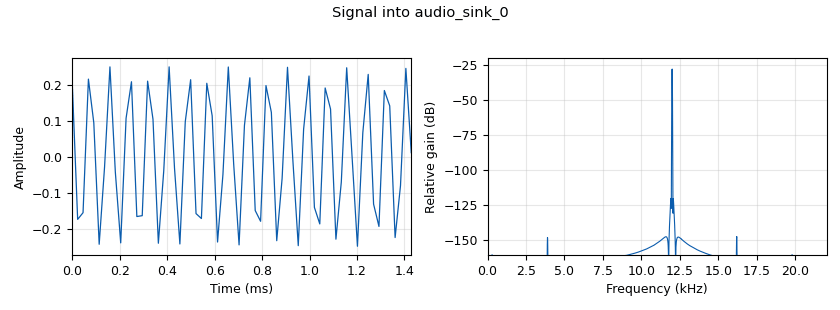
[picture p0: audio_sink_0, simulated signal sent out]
options:
  parameters:
    generate_options: qt_gui
    id: sound_test_with_chirp
    output_language: python
    title: Sound test with chirp
  states: {}

blocks:
- name: samp_rate
  id: variable
  parameters:
    value: '44100'
  states: {}
- name: sine_freq
  id: variable_qtgui_range
  parameters:
    start: '10'
    step: '10'
    stop: '20000'
    value: '12000'
  states: {}
- name: analog_sig_source_x_0
  id: analog_sig_source_x
  parameters:
    amp: '0.25'
    freq: sine_freq
    offset: '0'
    phase: '0'
    samp_rate: samp_rate
    type: float
    waveform: analog.GR_SIN_WAVE
  states: {}
- name: audio_sink_0
  id: audio_sink
  parameters:
    samp_rate: samp_rate
  states: {}
- name: audio_source_0
  id: audio_source
  parameters:
    samp_rate: samp_rate
  states: {}
- name: blocks_throttle2_0
  id: blocks_throttle2
  parameters:
    samples_per_second: samp_rate
    type: float
  states: {state: bypassed}
- name: blocks_wavfile_sink_0
  id: blocks_wavfile_sink
  parameters:
    bits_per_sample1: FORMAT_PCM_16
    file: /home/user/data/sound_test_12KHz_20250213.wav
    format: FORMAT_WAV
    nchan: '2'
    samp_rate: samp_rate
  states: {state: disabled}
- name: import_0
  id: import
  parameters:
    imports: import math
  states: {}
- name: qtgui_time_sink_x_0
  id: qtgui_time_sink_x
  parameters:
    label1: Output Sine
    label2: Input Sine
    nconnections: '2'
    size: '1024'
    srate: samp_rate
    type: float
  states: {}

connections:
- [analog_sig_source_x_0, '0', blocks_throttle2_0, '0']
- [audio_source_0, '0', blocks_wavfile_sink_0, '1']
- [audio_source_0, '0', qtgui_time_sink_x_0, '1']
- [blocks_throttle2_0, '0', audio_sink_0, '0']
- [blocks_throttle2_0, '0', blocks_wavfile_sink_0, '0']
- [blocks_throttle2_0, '0', qtgui_time_sink_x_0, '0']

metadata:
  file_format: 1
  grc_version: 3.10.9.2
